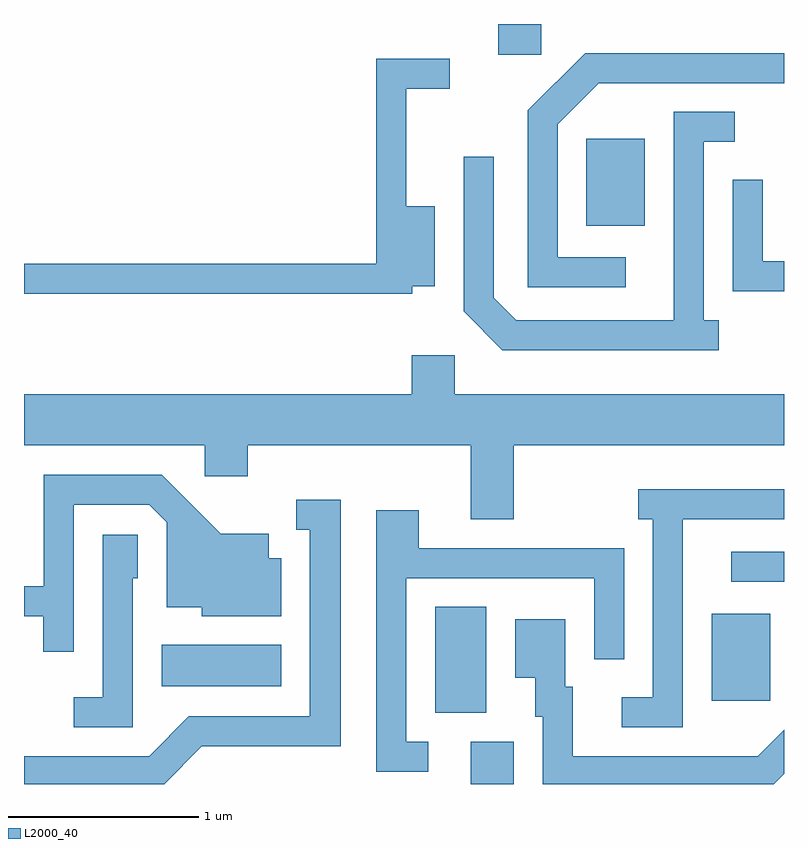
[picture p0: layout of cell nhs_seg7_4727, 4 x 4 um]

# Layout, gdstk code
import gdstk
lib = gdstk.Library(unit=1e-6, precision=1e-09)
def R(c, l, rs):  # rectangles x0, y0, x1, y1
    for r in rs: c.add(gdstk.rectangle(r[:2], r[2:], *l))
def P(c, l, *ps):  # polygons
    for p in ps: c.add(gdstk.Polygon(p, *l))
L2000_40 = (2000, 40)

nhs_seg7_4727 = lib.new_cell('nhs_seg7_4727')
R(nhs_seg7_4727, L2000_40, [(331.961,1770.252,332.189,1770.474), (331.776,1770.626,332.044,1771.184), (333.231,1770.691,333.539,1771.149), (330.336,1770.766,330.964,1770.984), (333.333,1771.316,333.611,1771.474), (332.571,1773.191,332.879,1773.649), (332.106,1774.091,332.334,1774.252)])
P(nhs_seg7_4727, L2000_40, [(332.778,1773.024),(332.419,1773.024),(332.419,1773.724),(332.637,1773.941),(333.611,1773.941),(333.611,1774.099),(332.564,1774.099),(332.261,1773.797),(332.261,1772.866),(332.778,1772.866)],
  [(331.654,1772.871),(331.774,1772.871),(331.774,1773.294),(331.624,1773.294),(331.624,1773.911),(331.853,1773.911),(331.853,1774.069),(331.466,1774.069),(331.466,1772.989),(329.611,1772.989),(329.611,1772.831),(331.654,1772.831)],
  [(333.268,1772.694),(333.189,1772.694),(333.189,1773.631),(333.353,1773.631),(333.353,1773.789),(333.031,1773.789),(333.031,1772.694),(332.202,1772.694),(332.084,1772.812),(332.084,1773.553),(331.926,1773.553),(331.926,1772.739),(332.129,1772.536),(333.268,1772.536)],
  [(333.611,1773.004),(333.499,1773.004),(333.499,1773.433),(333.341,1773.433),(333.341,1772.846),(333.611,1772.846)],
  [(332.189,1772.036),(333.611,1772.036),(333.611,1772.304),(331.879,1772.304),(331.879,1772.509),(331.651,1772.509),(331.651,1772.304),(329.611,1772.304),(329.611,1772.036),(330.561,1772.036),(330.561,1771.871),(330.789,1771.871),(330.789,1772.036),(331.961,1772.036),(331.961,1771.646),(332.189,1771.646)],
  [(329.874,1771.721),(330.269,1771.721),(330.361,1771.629),(330.361,1771.181),(330.546,1771.181),(330.546,1771.136),(330.964,1771.136),(330.964,1771.439),(330.899,1771.439),(330.899,1771.569),(330.647,1771.569),(330.337,1771.879),(329.716,1771.879),(329.716,1771.294),(329.611,1771.294),(329.611,1771.136),(329.711,1771.136),(329.711,1770.948),(329.874,1770.948)],
  [(333.079,1771.646),(333.611,1771.646),(333.611,1771.804),(332.843,1771.804),(332.843,1771.646),(332.921,1771.646),(332.921,1770.709),(332.758,1770.709),(332.758,1770.551),(333.079,1770.551)],
  [(330.547,1770.451),(331.279,1770.451),(331.279,1771.749),(331.043,1771.749),(331.043,1771.591),(331.116,1771.591),(331.116,1770.609),(330.479,1770.609),(330.269,1770.399),(329.611,1770.399),(329.611,1770.252),(330.348,1770.252)],
  [(331.738,1770.474),(331.624,1770.474),(331.624,1771.336),(332.611,1771.336),(332.611,1770.908),(332.769,1770.908),(332.769,1771.494),(331.689,1771.494),(331.689,1771.694),(331.466,1771.694),(331.466,1770.316),(331.738,1770.316)],
  [(330.184,1771.336),(330.209,1771.336),(330.209,1771.564),(330.026,1771.564),(330.026,1770.709),(329.873,1770.709),(329.873,1770.551),(330.184,1770.551)],
  [(333.611,1770.305),(333.611,1770.537),(333.474,1770.399),(332.499,1770.399),(332.499,1770.764),(332.459,1770.764),(332.459,1771.119),(332.196,1771.119),(332.196,1770.811),(332.301,1770.811),(332.301,1770.606),(332.341,1770.606),(332.341,1770.252),(333.558,1770.252)])

lib.write_gds('nhs_seg7_4727.gds')
